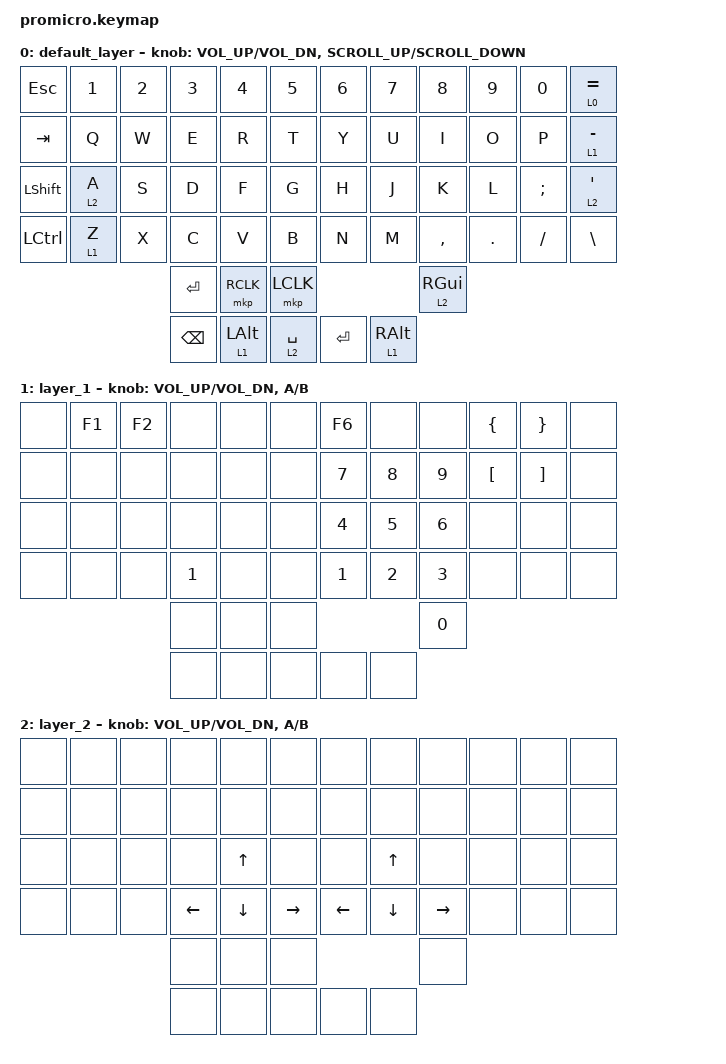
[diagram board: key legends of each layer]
/*
 * Copyright (c) 2020 The ZMK Contributors
 *
 * SPDX-License-Identifier: MIT
 */

#include <dt-bindings/led/led.h>
#include <behaviors/mouse_keys.dtsi>
#include <behaviors.dtsi>
#include <dt-bindings/zmk/keys.h>
#include <dt-bindings/zmk/mouse.h>

/ {
    keymap {
        compatible = "zmk,keymap";

        default_layer {
            bindings = <
&kp ESC    &kp N1   &kp N2  &kp N3         &kp N4      &kp N5             &kp N6     &kp N7      &kp N8      &kp N9   &kp N0    &lt 0 EQUAL
&kp TAB    &kp Q    &kp W   &kp E          &kp R       &kp T              &kp Y      &kp U       &kp I       &kp O    &kp P     &lt 1 MINUS
&kp LSHFT  &lt 2 A  &kp S   &kp D          &kp F       &kp G              &kp H      &kp J       &kp K       &kp L    &kp SEMI  &lt 2 SQT
&kp LCTRL  &lt 1 Z  &kp X   &kp C          &kp V       &kp B              &kp N      &kp M       &kp COMMA   &kp DOT  &kp FSLH  &kp BSLH
                            &kp ENTER      &mkp RCLK   &mkp LCLK                                 &lt 2 RGUI
                            &kp BACKSPACE  &lt 1 LALT  &lt 2 SPACE        &kp ENTER  &lt 1 RALT
            >;

            sensor-bindings =
                <&inc_dec_kp C_VOL_UP C_VOL_DN>,
                <&inc_dec_kp K_SCROLL_UP K_SCROLL_DOWN>;
        };

        layer_1 {
            bindings = <
&none  &kp F1  &kp F2  &none         &none  &none        &kp F6        &none         &none         &kp LEFT_BRACE    &kp RIGHT_BRACE    &none
&none  &none   &none   &none         &none  &none        &kp N7        &kp N8        &kp N9        &kp LEFT_BRACKET  &kp RIGHT_BRACKET  &none
&none  &none   &none   &none         &none  &none        &kp NUMBER_4  &kp N5        &kp NUMBER_6  &none             &none              &none
&none  &none   &none   &kp NUMBER_1  &none  &none        &kp NUMBER_1  &kp NUMBER_2  &kp NUMBER_3  &none             &none              &none
                       &none         &none  &none                                    &kp N0
                       &none         &none  &none        &none         &none
            >;

            sensor-bindings =
                <&inc_dec_kp C_VOL_UP C_VOL_DN>,
                <&inc_dec_kp A B>;
        };

        layer_2 {
            bindings = <
&none  &none  &none  &none           &none           &none            &none           &none           &none            &none  &none  &none
&none  &none  &none  &none           &none           &none            &none           &none           &none            &none  &none  &none
&none  &none  &none  &none           &kp UP_ARROW    &none            &none           &kp UP_ARROW    &none            &none  &none  &none
&none  &none  &none  &kp LEFT_ARROW  &kp DOWN_ARROW  &kp RIGHT        &kp LEFT_ARROW  &kp DOWN_ARROW  &kp RIGHT_ARROW  &none  &none  &none
                     &none           &none           &none                                            &none
                     &none           &none           &none            &none           &none
            >;

            sensor-bindings =
                <&inc_dec_kp C_VOL_UP C_VOL_DN>,
                <&inc_dec_kp A B>;
        };
    };
};
